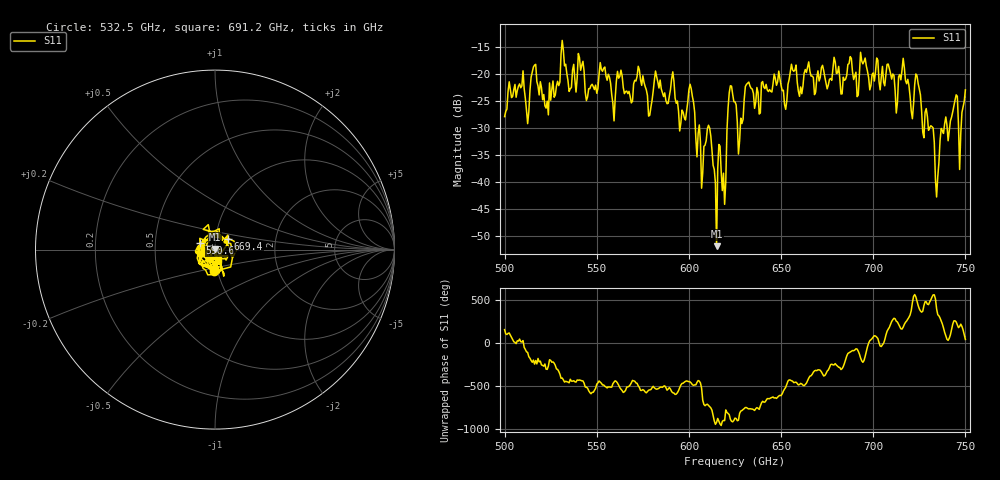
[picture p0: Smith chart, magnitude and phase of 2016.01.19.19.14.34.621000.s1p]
!Created with skrf (http://scikit-rf.org).
# GHz S RI R 50.0
!freq ReS11 ImS11
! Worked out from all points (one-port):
!   401 points, 500 GHz to 750 GHz, reference 50 ohm
!   lowest |S11| = -51.9 dB at 615 GHz (marker M1), VSWR 1.01, Z = 49.8 + j0.0819 ohm
!   |S11| at or under -10 dB: start of sweep to end of sweep
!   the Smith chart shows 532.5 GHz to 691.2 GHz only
!   S11 on the Smith chart (normalised r, x): 532.5 GHz: 0.96, -0.23; 590.6 GHz: 0.84, +0.06; 669.4 GHz: 1.15, +0.13; 691.2 GHz: 1.03, -0.12
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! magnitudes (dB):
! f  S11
! 500 GHz  -27.9
! 512.5 GHz  -29.2
! 515.6 GHz  -18.6
! 522.5 GHz  -26.3
! 531.2 GHz  -13.7
! 532.5 GHz  -18.4
! 545 GHz  -24.2
! 562.5 GHz  -20.4
! 578.8 GHz  -27.6
! 590.6 GHz  -20.8
! 593.8 GHz  -25.0
! 601.2 GHz  -22.7
! 605.6 GHz  -29.4
! 611.2 GHz  -30.0
! 615 GHz  -51.9
! 618.8 GHz  -38.4
! 622.5 GHz  -22.1
! 625 GHz  -25.1
! 628.1 GHz  -28.1
! 631.9 GHz  -21.6
! 656.2 GHz  -19.2
! 669.4 GHz  -20.7
! 687.5 GHz  -16.7
! 691.2 GHz  -24.1
! 718.8 GHz  -20.9
! 724.4 GHz  -21.7
! 734.4 GHz  -42.8
! 750 GHz  -22.9
